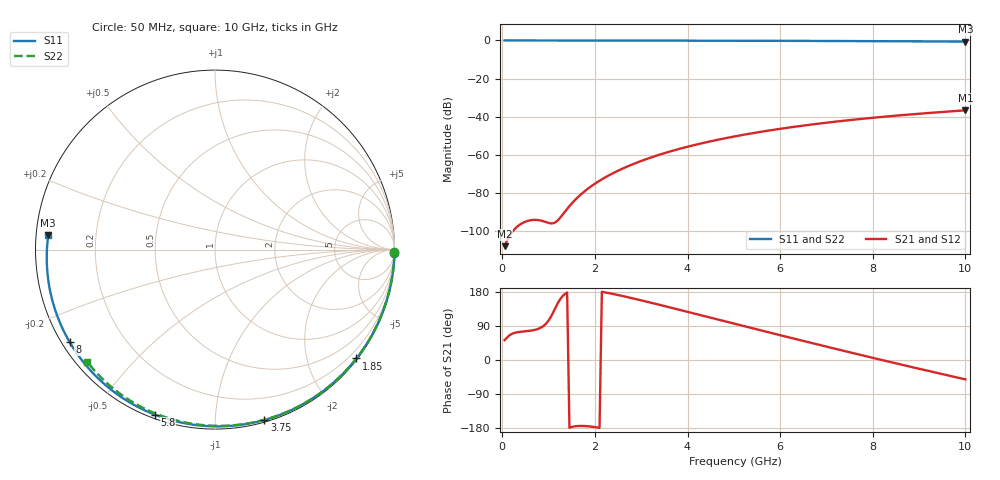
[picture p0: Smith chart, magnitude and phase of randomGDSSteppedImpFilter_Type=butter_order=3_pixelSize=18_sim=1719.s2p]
! freq	dB(S11)	phase(S11)	dB(S12)	phase(S12)
!  dB(S21)	phase(S21)	dB(S22)	phase(S22)
!S-par simulation data
#  GHz  S  DB  R 50
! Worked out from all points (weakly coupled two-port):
!   200 points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, 50 MHz to 10 GHz, reference 50 ohm
!   highest |S21| = -36.66 dB at 10 GHz (marker M1); lowest = -107.9 dB at 50 MHz (marker M2)
!   lowest |S11| = -0.6 dB at 10 GHz (marker M3), VSWR 28.71, Z = 1.74 + j2.12 ohm
!   |S11| at or under -10 dB: nowhere
!   |S22| runs from -0.5 to 0.0 dB; largest |S21 - S12| = 0
!   S11 on the Smith chart (normalised r, x): 50 MHz: open; 1.85 GHz: 0.03, -2.94; 3.75 GHz: 0.02, -1.33; 5.8 GHz: 0.02, -0.70; 8 GHz: 0.02, -0.29; 10 GHz: 0.03, +0.04
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0.05  -0.00 -1.0  -107.92 52.5  -107.92 52.5  -0.00 -0.8
0.45  -0.01 -9.3  -95.60 75.2  -95.60 75.2  -0.01 -7.2
0.85  -0.02 -17.5  -94.59 86.6  -94.59 86.6  -0.02 -13.6
1.25  -0.03 -25.6  -92.99 160.6  -92.99 160.6  -0.03 -19.9
1.7  -0.04 -34.6  -80.71 -174.0  -80.71 -174.0  -0.03 -26.9
1.75  -0.04 -35.6  -79.67 -174.1  -79.67 -174.1  -0.04 -27.7
1.85  -0.05 -37.6  -77.74 -174.9  -77.74 -174.9  -0.04 -29.3
2.15  -0.06 -43.5  -72.86 180.0  -72.86 180.0  -0.04 -33.9
2.5  -0.06 -50.3  -68.33 171.5  -68.33 171.5  -0.05 -39.2
2.9  -0.07 -58.0  -64.14 160.3  -64.14 160.3  -0.06 -45.3
3.4  -0.09 -67.4  -59.88 145.5  -59.88 145.5  -0.07 -52.7
3.75  -0.10 -73.8  -57.37 134.8  -57.37 134.8  -0.08 -57.8
4.4  -0.12 -85.6  -53.43 114.7  -53.43 114.7  -0.10 -67.1
5.05  -0.15 -97.1  -50.19 94.6  -50.19 94.6  -0.12 -76.2
5.8  -0.19 -110.1  -47.09 71.6  -47.09 71.6  -0.15 -86.3
6.7  -0.25 -125.4  -44.03 44.2  -44.03 44.2  -0.19 -98.1
7.35  -0.30 -136.4  -42.17 24.8  -42.17 24.8  -0.23 -106.3
8  -0.36 -147.6  -40.56 5.7  -40.56 5.7  -0.28 -114.4
8.35  -0.39 -153.8  -39.77 -4.5  -39.77 -4.5  -0.30 -118.7
9.2  -0.49 -169.2  -38.06 -28.8  -38.06 -28.8  -0.38 -129.1
9.6  -0.55 -176.9  -37.34 -40.0  -37.34 -40.0  -0.43 -133.9
10  -0.61 175.1  -36.66 -51.1  -36.66 -51.1  -0.47 -138.7
